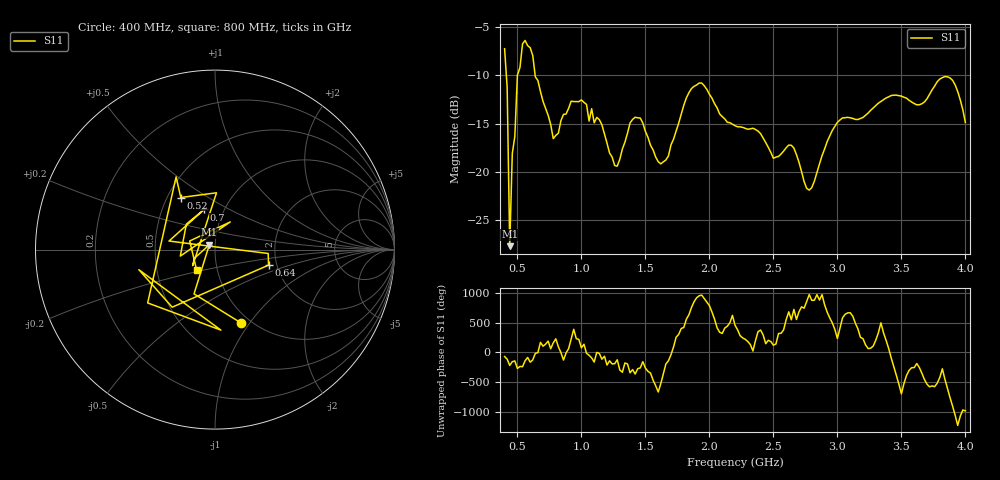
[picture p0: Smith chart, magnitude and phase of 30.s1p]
!Created with skrf (http://scikit-rf.org).
# Hz S RI R 50.0
!freq ReS11 ImS11
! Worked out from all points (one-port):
!   181 points, 400 MHz to 4 GHz, reference 50 ohm
!   lowest |S11| = -27.7 dB at 440 MHz (marker M1), VSWR 1.09, Z = 46.9 + j2.5 ohm
!   |S11| at or under -10 dB: 413.6 MHz to 500 MHz (86.33 MHz wide, 18.9 % of centre); 638.6 MHz to end of sweep
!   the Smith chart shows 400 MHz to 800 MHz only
!   S11 on the Smith chart (normalised r, x): 400 MHz: 0.90, -0.91; 520 MHz: 0.59, +0.39; 640 MHz: 1.81, -0.35; 700 MHz: 0.81, +0.38; 800 MHz: 0.80, -0.19
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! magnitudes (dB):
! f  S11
! 400 MHz  -7.3
! 420 MHz  -11.3
! 440 MHz  -27.7
! 460 MHz  -18.1
! 480 MHz  -16.3
! 500 MHz  -10.0
! 520 MHz  -9.2
! 560 MHz  -6.4
! 640 MHz  -10.2
! 700 MHz  -12.7
! 800 MHz  -16.2
! 860 MHz  -14.0
! 1 GHz  -12.5
! 1.26 GHz  -19.3
! 1.3 GHz  -18.7
! 1.42 GHz  -14.3
! 1.62 GHz  -19.2
! 1.76 GHz  -14.9
! 1.94 GHz  -10.8
! 2.2 GHz  -15.2
! 2.5 GHz  -18.6
! 2.66 GHz  -17.5
! 2.78 GHz  -21.9
! 2.96 GHz  -15.7
! 3.1 GHz  -14.4
! 3.56 GHz  -12.6
! 3.86 GHz  -10.2
! 4 GHz  -14.9
